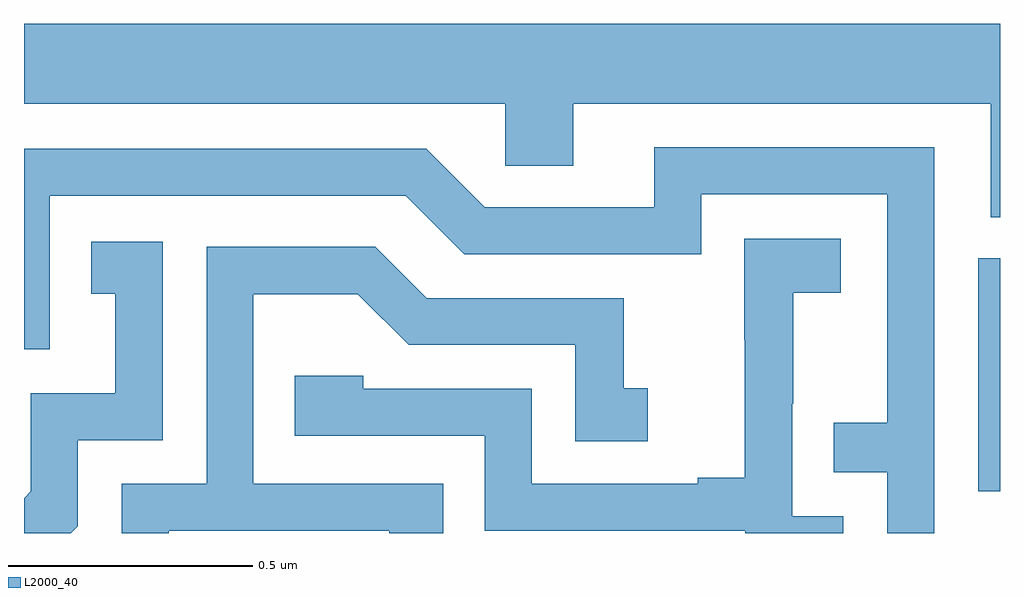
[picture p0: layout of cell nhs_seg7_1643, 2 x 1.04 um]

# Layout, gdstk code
import gdstk
lib = gdstk.Library(unit=1e-6, precision=1e-09)
def R(c, l, rs):  # rectangles x0, y0, x1, y1
    for r in rs: c.add(gdstk.rectangle(r[:2], r[2:], *l))
def P(c, l, *ps):  # polygons
    for p in ps: c.add(gdstk.Polygon(p, *l))
L2000_40 = (2000, 40)

nhs_seg7_1643 = lib.new_cell('nhs_seg7_1643')
R(nhs_seg7_1643, L2000_40, [(134.955,1069.086,135,1069.563)])
P(nhs_seg7_1643, L2000_40, [(135,1070.044),(133,1070.044),(133,1069.88),(133.986,1069.88),(133.986,1069.753),(134.125,1069.753),(134.125,1069.88),(134.981,1069.88),(134.981,1069.648),(135,1069.648)],
  [(134.865,1069.791),(134.291,1069.791),(134.291,1069.668),(133.944,1069.668),(133.824,1069.788),(133,1069.788),(133,1069.377),(133.053,1069.377),(133.053,1069.692),(133.782,1069.692),(133.902,1069.572),(134.388,1069.572),(134.388,1069.695),(134.769,1069.695),(134.769,1069.226),(134.659,1069.226),(134.659,1069.125),(134.769,1069.125),(134.769,1069),(134.865,1069)],
  [(134.679,1069.035),(134.574,1069.035),(134.574,1069.265),(134.576,1069.265),(134.576,1069.493),(134.674,1069.493),(134.674,1069.603),(134.476,1069.603),(134.476,1069.397),(134.477,1069.397),(134.477,1069.114),(134.381,1069.114),(134.381,1069.101),(134.04,1069.101),(134.04,1069.296),(133.695,1069.296),(133.695,1069.323),(133.555,1069.323),(133.555,1069.2),(133.944,1069.2),(133.944,1069.005),(134.478,1069.005),(134.478,1069),(134.679,1069)],
  [(133.11,1069.014),(133.11,1069.191),(133.284,1069.191),(133.284,1069.597),(133.138,1069.597),(133.138,1069.491),(133.187,1069.491),(133.187,1069.287),(133.014,1069.287),(133.014,1069.086),(133,1069.072),(133,1069),(133.096,1069)],
  [(133.297,1069),(133.297,1069.005),(133.748,1069.005),(133.748,1069),(133.859,1069),(133.859,1069.101),(133.47,1069.101),(133.47,1069.49),(133.684,1069.49),(133.788,1069.386),(134.13,1069.386),(134.13,1069.188),(134.278,1069.188),(134.278,1069.297),(134.229,1069.297),(134.229,1069.482),(133.825,1069.482),(133.72,1069.587),(133.374,1069.587),(133.374,1069.101),(133.2,1069.101),(133.2,1069)])

lib.write_gds('nhs_seg7_1643.gds')
